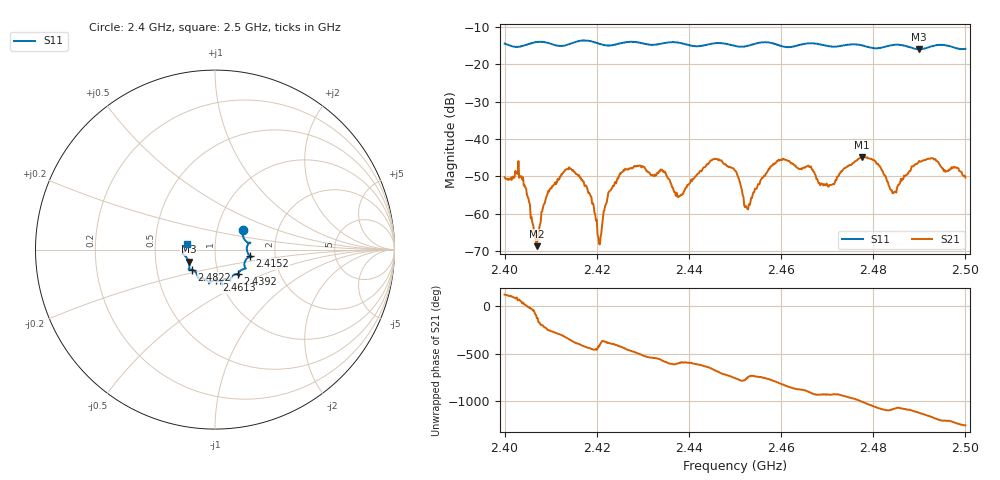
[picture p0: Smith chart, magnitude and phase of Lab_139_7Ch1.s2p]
# Hz S RI R 50
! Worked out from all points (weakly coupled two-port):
!   601 points, 2.4 GHz to 2.5 GHz, reference 50 ohm
!   highest |S21| = -44.79 dB at 2.4775 GHz (marker M1); lowest = -68.7 dB at 2.407 GHz (marker M2)
!   lowest |S11| = -15.9 dB at 2.4898 GHz (marker M3), VSWR 1.38, Z = 37 - j5.03 ohm
!   |S11| at or under -10 dB: start of sweep to end of sweep
!   S12 and S22 are empty: the file has one direction only
!   S11 on the Smith chart (normalised r, x): 2.4 GHz: 1.33, +0.31; 2.4152 GHz: 1.48, -0.11; 2.4392 GHz: 1.23, -0.35; 2.4613 GHz: 0.96, -0.34; 2.4822 GHz: 0.76, -0.17; 2.5 GHz: 0.72, +0.05
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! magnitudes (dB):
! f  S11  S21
! 2.4 GHz  -14.4  -50.2
! 2.4035 GHz  -15.2  -50.0
! 2.407 GHz  -14.0  -68.7
! 2.4098 GHz  -14.4  -53.3
! 2.4152 GHz  -14.1  -48.9
! 2.4167 GHz  -13.6  -51.0
! 2.4207 GHz  -14.5  -68.3
! 2.4223 GHz  -14.9  -55.7
! 2.4253 GHz  -14.3  -48.9
! 2.4333 GHz  -14.6  -49.2
! 2.4392 GHz  -14.6  -53.4
! 2.4452 GHz  -14.4  -45.4
! 2.45 GHz  -15.0  -48.5
! 2.4527 GHz  -15.0  -58.6
! 2.4613 GHz  -15.4  -45.8
! 2.4667 GHz  -14.3  -48.1
! 2.4707 GHz  -15.2  -52.3
! 2.4775 GHz  -14.9  -44.8
! 2.4822 GHz  -15.4  -49.1
! 2.4833 GHz  -15.0  -52.3
! 2.4898 GHz  -15.9  -46.1
! 2.5 GHz  -15.8  -50.3
